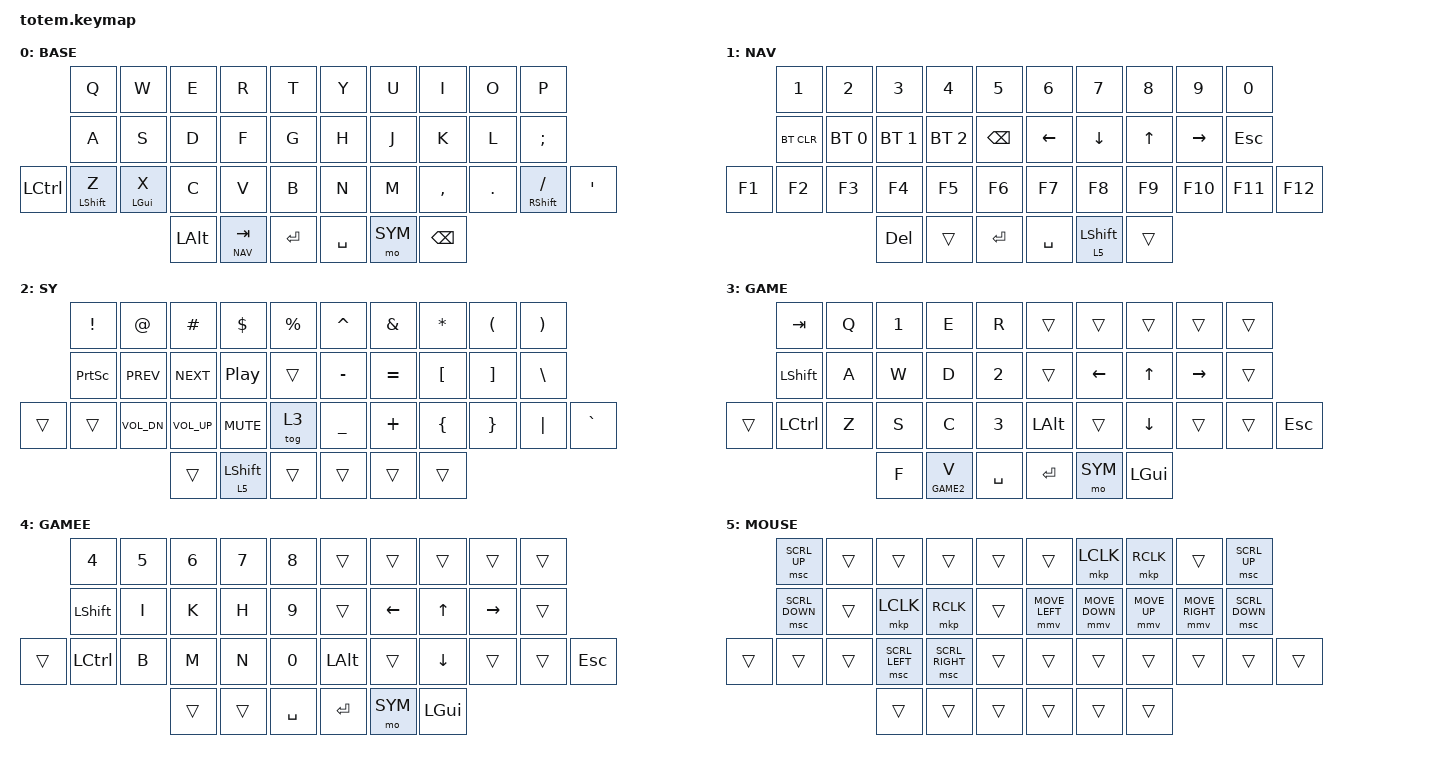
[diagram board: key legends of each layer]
//
//                                                        ▀▀▀▀▀     ▀▀▀▀▀          ▀▀█▀▀
//                                                        ▄▀▀▀▄  ▄  ▄▀▀▀▄  ▄  ▄▀▀▀▄  █  ▄▀▀▀▄
//                                                        █   █  █  █   █  █  █   █  █  █   █
//                                                         ▀▀▀   █   ▀▀▀   █   ▀▀▀   ▀   ▀▀▀
//                                                               █      ▄▄▄█▄▄▄    █   █  
//                                                               ▀      █  █  █     █▄█
//                                                             ▀▀▀▀▀    █  █  █      ▀
//                                                                      ▀  ▀  ▀
//
// ▄▄▄▄▄▄▄▄▄▄▄▄▄▄▄▄▄▄▄▄▄▄▄▄▄▄▄▄▄▄▄▄▄▄▄▄▄▄▄▄▄▄▄▄▄▄▄▄▄▄▄▄▄▄▄▄▄▄▄▄▄▄▄▄▄▄▄▄▄▄▄▄▄▄▄▄▄▄▄▄▄▄▄▄▄▄▄▄▄▄▄▄▄▄▄▄▄▄▄▄▄▄▄▄▄▄▄▄▄▄▄▄▄▄▄▄▄▄▄▄▄▄▄▄▄▄▄▄▄▄▄▄▄▄▄▄▄▄▄▄▄▄▄▄▄▄▄▄▄

#include <behaviors.dtsi>
#include <dt-bindings/zmk/bt.h>
#include <dt-bindings/zmk/keys.h>
#include <dt-bindings/zmk/outputs.h>
#include <dt-bindings/zmk/pointing.h>

#define ZMK_POINTING_DEFAULT_MOVE_VAL 1500
#define ZMK_POINTING_DEFAULT_SCRL_VAL 20

#define BASE 0
#define NAV  1
#define SYM  2
#define GAME 3
#define GAME2 4
#define ADJ  5
#define TVP1 6
#define TVP2 7

&mt {
    quick-tap-ms = <100>;
    global-quick-tap;
    flavor = "tap-preferred";
    tapping-term-ms = <170>;
};

/ {
    combos {
        compatible = "zmk,combos";

        combo_esc {
            timeout-ms = <50>;
            key-positions = <0 1>;
            bindings = <&kp ESC>;
        };

        combo_bspc {
            timeout-ms = <50>;
            key-positions = <10 11>;
            bindings = <&kp BSPC>;
        };
    };

    macros {
        gif: gif {
            label = "giphy";
            compatible = "zmk,behavior-macro";
            #binding-cells = <0>;
            bindings =
                <&macro_press>,
                <&kp LSHFT>,
                <&macro_tap>,
                <&kp N2>,
                <&macro_release>,
                <&kp LSHFT>,
                <&macro_tap>,
                <&kp G &kp I &kp F>;
        };
    };

    keymap {
        compatible = "zmk,keymap";

        // ▄▄▄▄▄▄▄▄▄▄▄▄▄▄▄▄▄▄▄▄▄▄▄▄▄▄▄▄▄▄▄▄▄▄▄▄▄▄▄▄▄▄▄▄▄▄▄▄▄▄▄▄▄▄▄▄▄▄▄▄▄▄▄▄▄▄▄▄▄▄▄▄▄▄▄▄▄▄▄▄▄▄▄▄▄▄▄▄▄▄▄▄▄▄▄▄▄▄▄▄▄▄▄▄▄▄▄▄▄▄▄▄▄▄▄▄▄▄▄▄▄▄▄▄▄▄▄▄▄▄▄▄▄▄▄▄▄▄▄▄▄▄▄▄▄▄▄▄▄

        base_layer {
            // ┏━━━━━━━━━━━━━━━━━━━━━━━━━━━━━━━━━━━━━━━┓

            display-name = "BASE";

            // ┗━━━━━━━━━━━━━━━━━━━━━━━━━━━━━━━━━━━━━━━┛
            //             ┏━━━━━━━━━━━┳━━━━━━━━━━━┳━━━━━━━━━━━┳━━━━━━━━━━━┳━━━━━━━━━━━┓   ┏━━━━━━━━━━━┳━━━━━━━━━━━┳━━━━━━━━━━━┳━━━━━━━━━━━┳━━━━━━━━━━━┓
            //             ┃     Qa    ┃     W     ┃     E     ┃     R     ┃     T     ┃   ┃     Y     ┃     U     ┃     I     ┃     O     ┃     P     ┃
            //             ┣━━━━━━━━━━━╋━━━━━━━━━━━╋━━━━━━━━━━━╋━━━━━━━━━━━╋━━━━━━━━━━━┫   ┣━━━━━━━━━━━╋━━━━━━━━━━━╋━━━━━━━━━━━╋━━━━━━━━━━━╋━━━━━━━━━━━┫
            //             ┃     A     ┃     S     ┃     D     ┃     F     ┃     G     ┃   ┃     H     ┃     J     ┃     K     ┃     L     ┃     ;     ┃
            // ┏━━━━━━━━━━━╋━━━━━━━━━━━╋━━━━━━━━━━━╋━━━━━━━━━━━╋━━━━━━━━━━━╋━━━━━━━━━━━┫   ┣━━━━━━━━━━━╋━━━━━━━━━━━╋━━━━━━━━━━━╋━━━━━━━━━━━╋━━━━━━━━━━━╋━━━━━━━━━━━┓
            // ┃  CTRL     ┃     Z     ┃     X/GUI ┃     C     ┃     V     ┃     B     ┃   ┃     N     ┃     M     ┃     ,     ┃     .     ┃     /     ┃      '    ┃
            // ┗━━━━━━━━━━━┻━━━━━━━━━━━┻━━━━━━━━━━━╋━━━━━━━━━━━╋━━━━━━━━━━━╋━━━━━━━━━━━┫   ┣━━━━━━━━━━━╋━━━━━━━━━━━╋━━━━━━━━━━━╋━━━━━━━━━━━┻━━━━━━━━━━━┻━━━━━━━━━━━┛
            //                                     ┃    ALT    ┃  L1/TAB   ┃    ENT    ┃   ┃   SPC     ┃  L2/BSPC  ┃   SHIFT   ┃
            //                                     ┗━━━━━━━━━━━┻━━━━━━━━━━━┻━━━━━━━━━━━┛   ┗━━━━━━━━━━━┻━━━━━━━━━━━┻━━━━━━━━━━━┛

            bindings = <
           &kp Q        &kp W       &kp E     &kp R        &kp T      &kp Y      &kp U    &kp I      &kp O    &kp P
           &kp A        &kp S       &kp D     &kp F        &kp G      &kp H      &kp J    &kp K      &kp L    &kp SEMI
&kp LCTRL  &mt LSHFT Z  &mt LGUI X  &kp C     &kp V        &kp B      &kp N      &kp M    &kp COMMA  &kp DOT  &mt RSHFT FSLH  &kp SQT
                                    &kp LALT  &lt NAV TAB  &kp RET    &kp SPACE  &mo SYM  &kp BSPC
            >;
        };

        // ▄▄▄▄▄▄▄▄▄▄▄▄▄▄▄▄▄▄▄▄▄▄▄▄▄▄▄▄▄▄▄▄▄▄▄▄▄▄▄▄▄▄▄▄▄▄▄▄▄▄▄▄▄▄▄▄▄▄▄▄▄▄▄▄▄▄▄▄▄▄▄▄▄▄▄▄▄▄▄▄▄▄▄▄▄▄▄▄▄▄▄▄▄▄▄▄▄▄▄▄▄▄▄▄▄▄▄▄▄▄▄▄▄▄▄▄▄▄▄▄▄▄▄▄▄▄▄▄▄▄▄▄▄▄▄▄▄▄▄▄▄▄▄▄▄▄▄▄▄

        nav_layer {
            // ┏━━━━━━━━━━━━━━━━━━━━━━━━━━━━━━━━━━━━━━━┓

            display-name = "NAV";

            // ┗━━━━━━━━━━━━━━━━━━━━━━━━━━━━━━━━━━━━━━━┛
            //             ┏━━━━━━━━━━━┳━━━━━━━━━━━┳━━━━━━━━━━━┳━━━━━━━━━━━┳━━━━━━━━━━━┓   ┏━━━━━━━━━━━┳━━━━━━━━━━━┳━━━━━━━━━━━┳━━━━━━━━━━━┳━━━━━━━━━━━┓
            //             ┃     1     ┃     2     ┃     3     ┃     4     ┃     5     ┃   ┃     6     ┃     7     ┃     8     ┃     9     ┃     0     ┃
            //             ┣━━━━━━━━━━━╋━━━━━━━━━━━╋━━━━━━━━━━━╋━━━━━━━━━━━╋━━━━━━━━━━━┫   ┣━━━━━━━━━━━╋━━━━━━━━━━━╋━━━━━━━━━━━╋━━━━━━━━━━━╋━━━━━━━━━━━┫
            //             ┃   BTCLEAR ┃   BT1     ┃   BT2     ┃   BT3     ┃    BSPC   ┃   ┃     LFT   ┃   DWN     ┃    UP     ┃   RGT     ┃     ESC   ┃
            // ┏━━━━━━━━━━━╋━━━━━━━━━━━╋━━━━━━━━━━━╋━━━━━━━━━━━╋━━━━━━━━━━━╋━━━━━━━━━━━┫   ┣━━━━━━━━━━━╋━━━━━━━━━━━╋━━━━━━━━━━━╋━━━━━━━━━━━╋━━━━━━━━━━━╋━━━━━━━━━━━┓
            // ┃  f1       ┃     f2    ┃    f3     ┃    f4     ┃    f5     ┃    f6     ┃   ┃     f7    ┃     f8    ┃    f9     ┃   f10     ┃   f11     ┃    f12    ┃
            // ┗━━━━━━━━━━━┻━━━━━━━━━━━┻━━━━━━━━━━━╋━━━━━━━━━━━╋━━━━━━━━━━━╋━━━━━━━━━━━┫   ┣━━━━━━━━━━━╋━━━━━━━━━━━╋━━━━━━━━━━━╋━━━━━━━━━━━┻━━━━━━━━━━━┻━━━━━━━━━━━┛
            //                                     ┃    DEL    ┃           ┃    ENT    ┃   ┃   SPC     ┃           ┃   trans   ┃
            //                                     ┗━━━━━━━━━━━┻━━━━━━━━━━━┻━━━━━━━━━━━┛   ┗━━━━━━━━━━━┻━━━━━━━━━━━┻━━━━━━━━━━━┛

            bindings = <
        &kp N1      &kp N2        &kp N3        &kp N4        &kp N5      &kp N6     &kp N7            &kp N8  &kp N9     &kp N0
        &bt BT_CLR  &bt BT_SEL 0  &bt BT_SEL 1  &bt BT_SEL 2  &kp BSPC    &kp LEFT   &kp DOWN          &kp UP  &kp RIGHT  &kp ESC
&kp F1  &kp F2      &kp F3        &kp F4        &kp F5        &kp F6      &kp F7     &kp F8            &kp F9  &kp F10    &kp F11  &kp F12
                                  &kp DEL       &trans        &kp RET     &kp SPACE  &lt 5 LEFT_SHIFT  &trans
            >;
        };

        // ▄▄▄▄▄▄▄▄▄▄▄▄▄▄▄▄▄▄▄▄▄▄▄▄▄▄▄▄▄▄▄▄▄▄▄▄▄▄▄▄▄▄▄▄▄▄▄▄▄▄▄▄▄▄▄▄▄▄▄▄▄▄▄▄▄▄▄▄▄▄▄▄▄▄▄▄▄▄▄▄▄▄▄▄▄▄▄▄▄▄▄▄▄▄▄▄▄▄▄▄▄▄▄▄▄▄▄▄▄▄▄▄▄▄▄▄▄▄▄▄▄▄▄▄▄▄▄▄▄▄▄▄▄▄▄▄▄▄▄▄▄▄▄▄▄▄▄▄▄

        sym_layer {
            // ┏━━━━━━━━━━━━━━━━━━━━━━━━━━━━━━━━━━━━━━━┓

            display-name = "SY";

            // ┗━━━━━━━━━━━━━━━━━━━━━━━━━━━━━━━━━━━━━━━┛
            //             ┏━━━━━━━━━━━┳━━━━━━━━━━━┳━━━━━━━━━━━┳━━━━━━━━━━━┳━━━━━━━━━━━┓   ┏━━━━━━━━━━━┳━━━━━━━━━━━┳━━━━━━━━━━━┳━━━━━━━━━━━┳━━━━━━━━━━━┓
            //             ┃     !     ┃     @     ┃     #     ┃     $     ┃     %     ┃   ┃     ^     ┃     &     ┃     *     ┃     (     ┃     )     ┃
            //             ┣━━━━━━━━━━━╋━━━━━━━━━━━╋━━━━━━━━━━━╋━━━━━━━━━━━╋━━━━━━━━━━━┫   ┣━━━━━━━━━━━╋━━━━━━━━━━━╋━━━━━━━━━━━╋━━━━━━━━━━━╋━━━━━━━━━━━┫
            //             ┃   PSCRN   ┃   C_PRV   ┃   C_NX    ┃   C_PP    ┃           ┃   ┃     -     ┃     =     ┃     [     ┃      ]    ┃   \       ┃
            // ┏━━━━━━━━━━━╋━━━━━━━━━━━╋━━━━━━━━━━━╋━━━━━━━━━━━╋━━━━━━━━━━━╋━━━━━━━━━━━┫   ┣━━━━━━━━━━━╋━━━━━━━━━━━╋━━━━━━━━━━━╋━━━━━━━━━━━╋━━━━━━━━━━━╋━━━━━━━━━━━┓
            // ┃  tg game  ┃           ┃    V_DN   ┃    V_UP   ┃    V_MT   ┃           ┃   ┃     _     ┃      +    ┃     {     ┃     }     ┃   "|"     ┃     `     ┃
            // ┗━━━━━━━━━━━┻━━━━━━━━━━━┻━━━━━━━━━━━╋━━━━━━━━━━━╋━━━━━━━━━━━╋━━━━━━━━━━━┫   ┣━━━━━━━━━━━╋━━━━━━━━━━━╋━━━━━━━━━━━╋━━━━━━━━━━━┻━━━━━━━━━━━┻━━━━━━━━━━━┛
            //                                     ┃           ┃           ┃    ENT    ┃   ┃   SPC     ┃           ┃   GUI     ┃
            //                                     ┗━━━━━━━━━━━┻━━━━━━━━━━━┻━━━━━━━━━━━┛   ┗━━━━━━━━━━━┻━━━━━━━━━━━┻━━━━━━━━━━━┛

            bindings = <
        &kp EXCL   &kp AT        &kp HASH      &kp DLLR          &kp PRCNT    &kp CARET  &kp AMPS   &kp ASTRK  &kp LPAR  &kp RPAR
        &kp PSCRN  &kp C_PREV    &kp C_NEXT    &kp C_PP          &trans       &kp MINUS  &kp EQUAL  &kp LBKT   &kp RBKT  &kp BSLH
&trans  &trans     &kp C_VOL_DN  &kp C_VOL_UP  &kp C_MUTE        &tog 3       &kp UNDER  &kp PLUS   &kp LBRC   &kp RBRC  &kp PIPE  &kp GRAVE
                                 &trans        &lt 5 LEFT_SHIFT  &trans       &trans     &trans     &trans
            >;
        };

        // ▄▄▄▄▄▄▄▄▄▄▄▄▄▄▄▄▄▄▄▄▄▄▄▄▄▄▄▄▄▄▄▄▄▄▄▄▄▄▄▄▄▄▄▄▄▄▄▄▄▄▄▄▄▄▄▄▄▄▄▄▄▄▄▄▄▄▄▄▄▄▄▄▄▄▄▄▄▄▄▄▄▄▄▄▄▄▄▄▄▄▄▄▄▄▄▄▄▄▄▄▄▄▄▄▄▄▄▄▄▄▄▄▄▄▄▄▄▄▄▄▄▄▄▄▄▄▄▄▄▄▄▄▄▄▄▄▄▄▄▄▄▄▄▄▄▄▄▄▄

        game_layer {
            // ┏━━━━━━━━━━━━━━━━━━━━━━━━━━━━━━━━━━━━━━━┓

            display-name = "GAME";

            // ┗━━━━━━━━━━━━━━━━━━━━━━━━━━━━━━━━━━━━━━━┛
            //             ┏━━━━━━━━━━━┳━━━━━━━━━━━┳━━━━━━━━━━━┳━━━━━━━━━━━┳━━━━━━━━━━━┓   ┏━━━━━━━━━━━┳━━━━━━━━━━━┳━━━━━━━━━━━┳━━━━━━━━━━━┳━━━━━━━━━━━┓
            //             ┃     TAB   ┃     Q     ┃     1     ┃      E    ┃     R     ┃   ┃           ┃           ┃           ┃           ┃           ┃
            //             ┣━━━━━━━━━━━╋━━━━━━━━━━━╋━━━━━━━━━━━╋━━━━━━━━━━━╋━━━━━━━━━━━┫   ┣━━━━━━━━━━━╋━━━━━━━━━━━╋━━━━━━━━━━━╋━━━━━━━━━━━╋━━━━━━━━━━━┫
            //             ┃  SHIFT    ┃       A   ┃     W     ┃      D    ┃     2     ┃   ┃           ┃    LFT    ┃    UP     ┃    RGHT   ┃           ┃
            // ┏━━━━━━━━━━━╋━━━━━━━━━━━╋━━━━━━━━━━━╋━━━━━━━━━━━╋━━━━━━━━━━━╋━━━━━━━━━━━┫   ┣━━━━━━━━━━━╋━━━━━━━━━━━╋━━━━━━━━━━━╋━━━━━━━━━━━╋━━━━━━━━━━━╋━━━━━━━━━━━┓
            // ┃           ┃  CTRL     ┃      Z    ┃     S     ┃    C      ┃     3     ┃   ┃     ALT   ┃           ┃    DOWN   ┃           ┃           ┃           ┃
            // ┗━━━━━━━━━━━┻━━━━━━━━━━━┻━━━━━━━━━━━╋━━━━━━━━━━━╋━━━━━━━━━━━╋━━━━━━━━━━━┫   ┣━━━━━━━━━━━╋━━━━━━━━━━━╋━━━━━━━━━━━╋━━━━━━━━━━━┻━━━━━━━━━━━┻━━━━━━━━━━━┛
            //                                     ┃     F     ┃  GAME2/V  ┃    SPC    ┃   ┃     ENTER ┃           ┃   GUI     ┃
            //                                     ┗━━━━━━━━━━━┻━━━━━━━━━━━┻━━━━━━━━━━━┛   ┗━━━━━━━━━━━┻━━━━━━━━━━━┻━━━━━━━━━━━┛

            bindings = <
        &kp TAB    &kp Q  &kp N1  &kp E        &kp R        &trans    &trans    &trans    &trans     &trans
        &kp LSHFT  &kp A  &kp W   &kp D        &kp N2       &trans    &kp LEFT  &kp UP    &kp RIGHT  &trans
&trans  &kp LCTRL  &kp Z  &kp S   &kp C        &kp N3       &kp LALT  &trans    &kp DOWN  &trans     &trans  &kp ESC
                          &kp F   &lt GAME2 V  &kp SPACE    &kp RET   &mo SYM   &kp LGUI
            >;
        };

        // ▄▄▄▄▄▄▄▄▄▄▄▄▄▄▄▄▄▄▄▄▄▄▄▄▄▄▄▄▄▄▄▄▄▄▄▄▄▄▄▄▄▄▄▄▄▄▄▄▄▄▄▄▄▄▄▄▄▄▄▄▄▄▄▄▄▄▄▄▄▄▄▄▄▄▄▄▄▄▄▄▄▄▄▄▄▄▄▄▄▄▄▄▄▄▄▄▄▄▄▄▄▄▄▄▄▄▄▄▄▄▄▄▄▄▄▄▄▄▄▄▄▄▄▄▄▄▄▄▄▄▄▄▄▄▄▄▄▄▄▄▄▄▄▄▄▄▄▄▄

        game_layer2 {
            // ┏━━━━━━━━━━━━━━━━━━━━━━━━━━━━━━━━━━━━━━━┓

            display-name = "GAMEE";

            // ┗━━━━━━━━━━━━━━━━━━━━━━━━━━━━━━━━━━━━━━━┛
            //             ┏━━━━━━━━━━━┳━━━━━━━━━━━┳━━━━━━━━━━━┳━━━━━━━━━━━┳━━━━━━━━━━━┓   ┏━━━━━━━━━━━┳━━━━━━━━━━━┳━━━━━━━━━━━┳━━━━━━━━━━━┳━━━━━━━━━━━┓
            //             ┃     TAB   ┃     Q     ┃     1     ┃      E    ┃     R     ┃   ┃           ┃           ┃           ┃           ┃           ┃
            //             ┣━━━━━━━━━━━╋━━━━━━━━━━━╋━━━━━━━━━━━╋━━━━━━━━━━━╋━━━━━━━━━━━┫   ┣━━━━━━━━━━━╋━━━━━━━━━━━╋━━━━━━━━━━━╋━━━━━━━━━━━╋━━━━━━━━━━━┫
            //             ┃  SHIFT    ┃       A   ┃     W     ┃      D    ┃     2     ┃   ┃           ┃    LFT    ┃    UP     ┃    RGHT   ┃           ┃
            // ┏━━━━━━━━━━━╋━━━━━━━━━━━╋━━━━━━━━━━━╋━━━━━━━━━━━╋━━━━━━━━━━━╋━━━━━━━━━━━┫   ┣━━━━━━━━━━━╋━━━━━━━━━━━╋━━━━━━━━━━━╋━━━━━━━━━━━╋━━━━━━━━━━━╋━━━━━━━━━━━┓
            // ┃           ┃  CTRL     ┃      Z    ┃     S     ┃    C      ┃     3     ┃   ┃     ALT   ┃           ┃    DOWN   ┃           ┃           ┃           ┃
            // ┗━━━━━━━━━━━┻━━━━━━━━━━━┻━━━━━━━━━━━╋━━━━━━━━━━━╋━━━━━━━━━━━╋━━━━━━━━━━━┫   ┣━━━━━━━━━━━╋━━━━━━━━━━━╋━━━━━━━━━━━╋━━━━━━━━━━━┻━━━━━━━━━━━┻━━━━━━━━━━━┛
            //                                     ┃     F     ┃  GAME2/V  ┃    SPC    ┃   ┃     ENTER ┃           ┃   GUI     ┃
            //                                     ┗━━━━━━━━━━━┻━━━━━━━━━━━┻━━━━━━━━━━━┛   ┗━━━━━━━━━━━┻━━━━━━━━━━━┻━━━━━━━━━━━┛

            bindings = <
        &kp N4     &kp N5  &kp N6  &kp N7  &kp N8       &trans    &trans    &trans    &trans     &trans
        &kp LSHFT  &kp I   &kp K   &kp H   &kp N9       &trans    &kp LEFT  &kp UP    &kp RIGHT  &trans
&trans  &kp LCTRL  &kp B   &kp M   &kp N   &kp N0       &kp LALT  &trans    &kp DOWN  &trans     &trans  &kp ESC
                           &trans  &trans  &kp SPACE    &kp RET   &mo SYM   &kp LGUI
            >;
        };

        mouse_layer {
            display-name = "MOUSE";
            bindings = <
        &msc SCRL_UP    &trans  &trans          &trans           &trans    &trans          &mkp LCLK       &mkp RCLK     &trans           &msc SCRL_UP
        &msc SCRL_DOWN  &trans  &mkp LCLK       &mkp RCLK        &trans    &mmv MOVE_LEFT  &mmv MOVE_DOWN  &mmv MOVE_UP  &mmv MOVE_RIGHT  &msc SCRL_DOWN
&trans  &trans          &trans  &msc SCRL_LEFT  &msc SCRL_RIGHT  &trans    &trans          &trans          &trans        &trans           &trans          &trans
                                &trans          &trans           &trans    &trans          &trans          &trans
            >;
        };

        // ▄▄▄▄▄▄▄▄▄▄▄▄▄▄▄▄▄▄▄▄▄▄▄▄▄▄▄▄▄▄▄▄▄▄▄▄▄▄▄▄▄▄▄▄▄▄▄▄▄▄▄▄▄▄▄▄▄▄▄▄▄▄▄▄▄▄▄▄▄▄▄▄▄▄▄▄▄▄▄▄▄▄▄▄▄▄▄▄▄▄▄▄▄▄▄▄▄▄▄▄▄▄▄▄▄▄▄▄▄▄▄▄▄▄▄▄▄▄▄▄▄▄▄▄▄▄▄▄▄▄▄▄▄▄▄▄▄▄▄▄▄▄▄▄▄▄▄▄▄
    };
};
